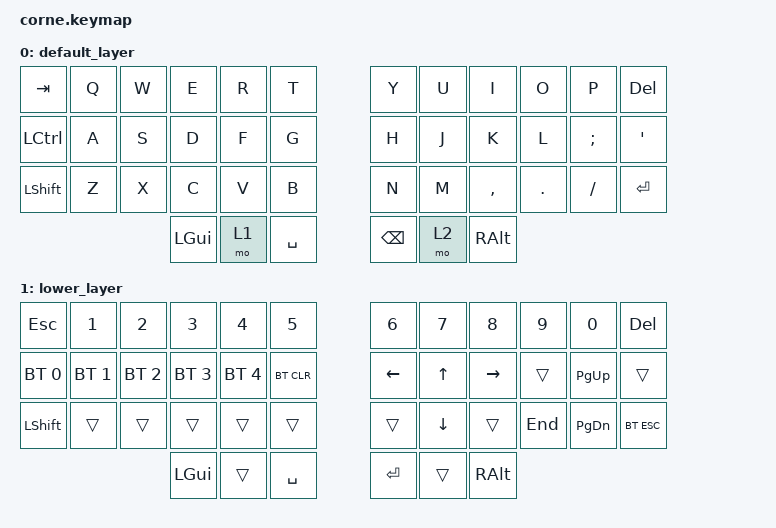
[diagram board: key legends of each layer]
/*
 * Copyright (c) 2020 The ZMK Contributors
 *
 * SPDX-License-Identifier: MIT
 */

#include <behaviors.dtsi>
#include <dt-bindings/zmk/keys.h>
#include <dt-bindings/zmk/bt.h>


/ {
        keymap {
                compatible = "zmk,keymap";

                default_layer {
// -----------------------------------------------------------------------------------------
// |  TAB |  Q  |  W  |  E  |  R  |  T  |   |  Y  |  U   |  I  |  O  |  P  | DEL |
// | CTRL |  A  |  S  |  D  |  F  |  G  |   |  H  |  J   |  K  |  L  | ; : | ' " |
// | SHFT |  Z  |  X  |  C  |  V  |  B  |   |  N  |  M   | , < | . > | / ? | ENT |
//                    | GUI | LWR | SPC |   | BKSP| RSE  | ALT |
                        bindings = <
   &kp TAB   &kp Q &kp W &kp E &kp R &kp T   &kp Y &kp U  &kp I     &kp O   &kp P    &kp DEL
   &kp LCTRL &kp A &kp S &kp D &kp F &kp G   &kp H &kp J  &kp K     &kp L   &kp SEMI &kp SQT
   &kp LSHFT &kp Z &kp X &kp C &kp V &kp B   &kp N &kp M  &kp COMMA &kp DOT &kp FSLH &kp RET
                  &kp LGUI &mo 1 &kp SPACE   &kp BKSP &mo 2 &kp RALT
                        >;
                };
                lower_layer {
// -----------------------------------------------------------------------------------------
// |  ESC |  1 !  | 2 @ | 3 # | 4 $ | 5 %   |   |  6 ^ | 7 & |  8 * | 9 ( | 0 )   |  DEL  |
// | BT1  | BT2   | BT3 | BT4 | BT5 | BTCLR |   | LFT | UP   | RGT  |     | PG_UP |       |
// | SHFT |       |     |     |     |       |   |     | DOWN |      | END | PG_DN |  ESC  |
//                      | GUI |     | SPC   |   | ENT |      | ALT  |
                        bindings = <
   &kp ESC &kp N1 &kp N2 &kp N3 &kp N4 &kp N5   &kp N6   &kp N7   &kp N8    &kp N9     &kp N0 &kp DEL
   &bt BT_SEL 0 &bt BT_SEL 1 &bt BT_SEL 2 &bt BT_SEL 3 &bt BT_SEL 4 &bt BT_CLR    &kp LEFT &kp UP &kp RIGHT &trans &kp PG_UP &trans
   &kp LSHFT &trans &trans &trans &trans &trans &trans   &kp DOWN &trans    &kp END    &kp PG_DN  &bt ESC
                &kp LGUI &trans &kp SPACE      &kp RET  &trans   &kp RALT
                        >;
                };

//                raise_layer {
// -----------------------------------------------------------------------------------------
// |  F1  |  F2 |  F3 |  F4 |  F5 | F6  |   |  F7 |  F8 |  F9 | F10 | F11 |  F12 |
// | CTRL |     |     |     |     |     |   |  -  |  =  |  [  |  ]  |  \  |  `   |
// | SHFT |     |     |     |     |     |   |  _  |  +  |  {  |  }  | "|" |  ~   |
//                    | GUI |     | SPC |   | ENT |     | ALT |
//                        bindings = <
//  &kp F1  &kp F2 &kp F3 &kp F4 &kp F5 &kp F6   &kp F7 &kp F8  &kp F9 &kp F10 &kp F11 &kp F12
//   &kp LCTRL &trans   &trans &trans   &trans   &trans      &kp MINUS &kp EQUAL &kp LBKT &kp RBKT &kp BSLH &kp GRAVE
//   &kp LSHFT &trans   &trans &trans   &trans   &trans      &kp UNDER &kp PLUS  &kp LBRC &kp RBRC &kp PIPE &kp TILDE
//                    	     &kp LGUI &trans   &kp SPACE   &kp RET   &trans    &kp RALT
//                        >;
//                };
};
